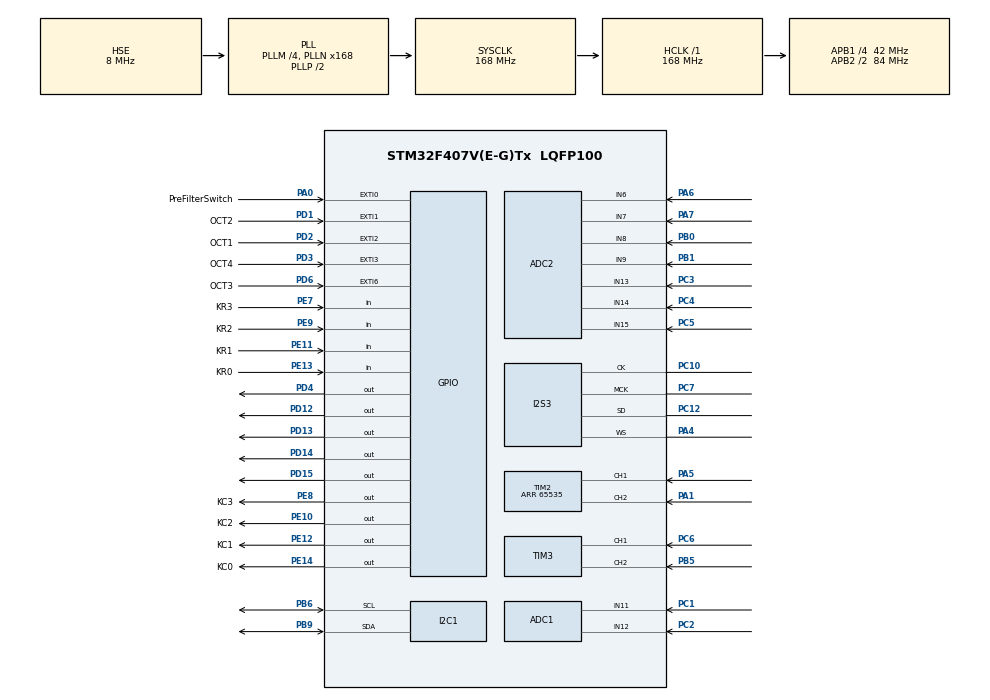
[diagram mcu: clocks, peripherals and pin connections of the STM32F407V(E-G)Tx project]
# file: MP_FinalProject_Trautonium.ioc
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ADC1.Channel-0\#ChannelRegularConversion=ADC_CHANNEL_12
ADC1.Channel-6\#ChannelRegularConversion=ADC_CHANNEL_11
ADC1.ClockPrescaler=ADC_CLOCK_SYNC_PCLK_DIV6
ADC1.ContinuousConvMode=ENABLE
ADC1.DMAContinuousRequests=ENABLE
ADC1.DataAlign=ADC_DATAALIGN_RIGHT
ADC1.InjNumberOfConversion=0
ADC1.NbrOfConversion=2
ADC1.NbrOfConversionFlag=1
ADC1.Rank-0\#ChannelRegularConversion=1
ADC1.Rank-6\#ChannelRegularConversion=2
ADC1.SamplingTime-0\#ChannelRegularConversion=ADC_SAMPLETIME_56CYCLES
ADC1.SamplingTime-6\#ChannelRegularConversion=ADC_SAMPLETIME_15CYCLES
ADC1.ScanConvMode=ENABLE
ADC1.master=1
ADC2.Channel-2\#ChannelRegularConversion=ADC_CHANNEL_6
ADC2.Channel-3\#ChannelRegularConversion=ADC_CHANNEL_7
ADC2.Channel-4\#ChannelRegularConversion=ADC_CHANNEL_8
ADC2.Channel-5\#ChannelRegularConversion=ADC_CHANNEL_9
ADC2.Channel-6\#ChannelRegularConversion=ADC_CHANNEL_15
ADC2.Channel-7\#ChannelRegularConversion=ADC_CHANNEL_13
ADC2.Channel-8\#ChannelRegularConversion=ADC_CHANNEL_14
ADC2.ClockPrescaler=ADC_CLOCK_SYNC_PCLK_DIV6
ADC2.ContinuousConvMode=ENABLE
ADC2.DMAContinuousRequests=ENABLE
ADC2.DiscontinuousConvMode=DISABLE
ADC2.NbrOfConversion=7
ADC2.NbrOfConversionFlag=1
ADC2.Rank-2\#ChannelRegularConversion=1
ADC2.Rank-3\#ChannelRegularConversion=2
ADC2.Rank-4\#ChannelRegularConversion=3
ADC2.Rank-5\#ChannelRegularConversion=4
ADC2.Rank-6\#ChannelRegularConversion=5
ADC2.Rank-7\#ChannelRegularConversion=6
ADC2.Rank-8\#ChannelRegularConversion=7
ADC2.SamplingTime-2\#ChannelRegularConversion=ADC_SAMPLETIME_15CYCLES
ADC2.SamplingTime-3\#ChannelRegularConversion=ADC_SAMPLETIME_15CYCLES
ADC2.SamplingTime-4\#ChannelRegularConversion=ADC_SAMPLETIME_15CYCLES
ADC2.SamplingTime-5\#ChannelRegularConversion=ADC_SAMPLETIME_15CYCLES
ADC2.SamplingTime-6\#ChannelRegularConversion=ADC_SAMPLETIME_15CYCLES
ADC2.SamplingTime-7\#ChannelRegularConversion=ADC_SAMPLETIME_15CYCLES
ADC2.SamplingTime-8\#ChannelRegularConversion=ADC_SAMPLETIME_15CYCLES
ADC2.ScanConvMode=ENABLE
Dma.ADC1.0.Direction=DMA_PERIPH_TO_MEMORY
Dma.ADC1.0.FIFOMode=DMA_FIFOMODE_DISABLE
Dma.ADC1.0.Instance=DMA2_Stream0
Dma.ADC1.0.MemDataAlignment=DMA_MDATAALIGN_HALFWORD
Dma.ADC1.0.MemInc=DMA_MINC_ENABLE
Dma.ADC1.0.Mode=DMA_CIRCULAR
Dma.ADC1.0.PeriphDataAlignment=DMA_PDATAALIGN_HALFWORD
Dma.ADC1.0.PeriphInc=DMA_PINC_DISABLE
Dma.ADC1.0.Priority=DMA_PRIORITY_LOW
Dma.ADC2.2.Direction=DMA_PERIPH_TO_MEMORY
Dma.ADC2.2.FIFOMode=DMA_FIFOMODE_DISABLE
Dma.ADC2.2.Instance=DMA2_Stream2
Dma.ADC2.2.MemDataAlignment=DMA_MDATAALIGN_HALFWORD
Dma.ADC2.2.MemInc=DMA_MINC_ENABLE
Dma.ADC2.2.Mode=DMA_CIRCULAR
Dma.ADC2.2.PeriphDataAlignment=DMA_PDATAALIGN_HALFWORD
Dma.ADC2.2.PeriphInc=DMA_PINC_DISABLE
Dma.ADC2.2.Priority=DMA_PRIORITY_LOW
Dma.Request0=ADC1
Dma.Request1=SPI3_TX
Dma.Request2=ADC2
Dma.SPI3_TX.1.Direction=DMA_MEMORY_TO_PERIPH
Dma.SPI3_TX.1.FIFOMode=DMA_FIFOMODE_DISABLE
Dma.SPI3_TX.1.Instance=DMA1_Stream5
Dma.SPI3_TX.1.MemDataAlignment=DMA_MDATAALIGN_HALFWORD
Dma.SPI3_TX.1.MemInc=DMA_MINC_ENABLE
Dma.SPI3_TX.1.Mode=DMA_CIRCULAR
Dma.SPI3_TX.1.PeriphDataAlignment=DMA_PDATAALIGN_HALFWORD
Dma.SPI3_TX.1.PeriphInc=DMA_PINC_DISABLE
Dma.SPI3_TX.1.Priority=DMA_PRIORITY_LOW
I2S3.AudioFreq=I2S_AUDIOFREQ_48K
I2S3.CPOL=I2S_CPOL_LOW
I2S3.ErrorAudioFreq=1.72 %
I2S3.FullDuplexMode=I2S_FULLDUPLEXMODE_DISABLE
I2S3.Instance=SPI$Index
I2S3.RealAudioFreq=48.828 KHz
I2S3.VirtualMode=I2S_MODE_MASTER
Mcu.Family=STM32F4
Mcu.Name=STM32F407V(E-G)Tx
Mcu.Package=LQFP100
NVIC.DMA1_Stream5_IRQn=true\:0\:0\:false\:false\:true\:false\:true\:true
NVIC.DMA2_Stream0_IRQn=true\:0\:0\:false\:false\:true\:false\:true\:true
NVIC.DMA2_Stream2_IRQn=true\:0\:0\:false\:false\:true\:false\:true\:true
NVIC.EXTI0_IRQn=true\:0\:0\:false\:false\:true\:true\:true\:true
NVIC.EXTI1_IRQn=true\:0\:0\:false\:false\:true\:true\:true\:true
NVIC.EXTI2_IRQn=true\:0\:0\:false\:false\:true\:true\:true\:true
NVIC.EXTI3_IRQn=true\:0\:0\:false\:false\:true\:true\:true\:true
NVIC.EXTI9_5_IRQn=true\:0\:0\:false\:false\:true\:true\:true\:true
NVIC.PriorityGroup=NVIC_PRIORITYGROUP_4
NVIC.TIM4_IRQn=true\:0\:0\:false\:false\:true\:true\:true\:true
PA0-WKUP.GPIO_Label=PreFilterSwitch
PA0-WKUP.Signal=GPXTI0
PA1.Signal=S_TIM2_CH2
PA4.Mode=Half_Duplex_Master
PA4.Signal=I2S3_WS
PA5.Signal=S_TIM2_CH1_ETR
PA6.Signal=ADCx_IN6
PA7.Signal=ADCx_IN7
PB0.Signal=ADCx_IN8
PB1.Signal=ADCx_IN9
PB5.Signal=S_TIM3_CH2
PB6.Mode=I2C
PB6.Signal=I2C1_SCL
PB9.Mode=I2C
PB9.Signal=I2C1_SDA
PC1.Signal=ADCx_IN11
PC10.Mode=Half_Duplex_Master
PC10.Signal=I2S3_CK
PC12.Mode=Half_Duplex_Master
PC12.Signal=I2S3_SD
PC2.Signal=ADCx_IN12
PC3.Signal=ADCx_IN13
PC4.Signal=ADCx_IN14
PC5.Signal=ADCx_IN15
PC6.Signal=S_TIM3_CH1
PC7.Mode=Master_Clock_Activated
PC7.Signal=I2S3_MCK
PD1.GPIO_Label=OCT2
PD1.GPIO_ModeDefaultEXTI=GPIO_MODE_IT_FALLING
PD1.GPIO_PuPd=GPIO_PULLUP
PD1.Signal=GPXTI1
PD12.Signal=GPIO_Output
PD13.Signal=GPIO_Output
PD14.Signal=GPIO_Output
PD15.Signal=GPIO_Output
PD2.GPIO_Label=OCT1
PD2.GPIO_ModeDefaultEXTI=GPIO_MODE_IT_FALLING
PD2.GPIO_PuPd=GPIO_PULLUP
PD2.Signal=GPXTI2
PD3.GPIO_Label=OCT4
PD3.GPIO_ModeDefaultEXTI=GPIO_MODE_IT_FALLING
PD3.GPIO_PuPd=GPIO_PULLUP
PD3.Signal=GPXTI3
PD4.Signal=GPIO_Output
PD6.GPIO_Label=OCT3
PD6.GPIO_ModeDefaultEXTI=GPIO_MODE_IT_FALLING
PD6.GPIO_PuPd=GPIO_PULLUP
PD6.Signal=GPXTI6
PE10.GPIO_Label=KC2
PE10.Signal=GPIO_Output
PE11.GPIO_Label=KR1
PE11.GPIO_PuPd=GPIO_PULLDOWN
PE11.Signal=GPIO_Input
PE12.GPIO_Label=KC1
PE12.Signal=GPIO_Output
PE13.GPIO_Label=KR0
PE13.GPIO_PuPd=GPIO_PULLDOWN
PE13.Signal=GPIO_Input
PE14.GPIO_Label=KC0
PE14.Signal=GPIO_Output
PE7.GPIO_Label=KR3
PE7.GPIO_PuPd=GPIO_PULLDOWN
PE7.Signal=GPIO_Input
PE8.GPIO_Label=KC3
PE8.Signal=GPIO_Output
PE9.GPIO_Label=KR2
PE9.GPIO_PuPd=GPIO_PULLDOWN
PE9.Signal=GPIO_Input
PH0-OSC_IN.Mode=HSE-External-Oscillator
PH0-OSC_IN.Signal=RCC_OSC_IN
PH1-OSC_OUT.Mode=HSE-External-Oscillator
PH1-OSC_OUT.Signal=RCC_OSC_OUT
ProjectManager.HeapSize=0x200
ProjectManager.StackSize=0x400
ProjectManager.TargetToolchain=STM32CubeIDE
RCC.48MHZClocksFreq_Value=84000000
RCC.AHBFreq_Value=168000000
RCC.APB1CLKDivider=RCC_HCLK_DIV4
RCC.APB1Freq_Value=42000000
RCC.APB1TimFreq_Value=84000000
RCC.APB2CLKDivider=RCC_HCLK_DIV2
RCC.APB2Freq_Value=84000000
RCC.APB2TimFreq_Value=168000000
RCC.CortexFreq_Value=168000000
RCC.HCLKFreq_Value=168000000
RCC.HSE_VALUE=8000000
RCC.HSI_VALUE=16000000
RCC.LSE_VALUE=32768
RCC.PLLI2SN=50
RCC.PLLM=4
RCC.PLLN=168
RCC.PLLSourceVirtual=RCC_PLLSOURCE_HSE
RCC.SYSCLKFreq_VALUE=168000000
RCC.SYSCLKSource=RCC_SYSCLKSOURCE_PLLCLK
RCC.VCOOutputFreq_Value=336000000
SH.ADCx_IN11.0=ADC1_IN11,IN11
SH.ADCx_IN11.1=ADC2_IN11
SH.ADCx_IN12.0=ADC1_IN12,IN12
SH.ADCx_IN12.1=ADC2_IN12
SH.ADCx_IN13.0=ADC2_IN13,IN13
SH.ADCx_IN14.0=ADC2_IN14,IN14
SH.ADCx_IN15.0=ADC2_IN15,IN15
SH.ADCx_IN6.0=ADC2_IN6,IN6
SH.ADCx_IN7.0=ADC2_IN7,IN7
SH.ADCx_IN8.0=ADC2_IN8,IN8
SH.ADCx_IN9.0=ADC2_IN9,IN9
SH.S_TIM2_CH1_ETR.0=TIM2_CH1,Encoder_Interface
SH.S_TIM2_CH2.0=TIM2_CH2,Encoder_Interface
SH.S_TIM3_CH1.0=TIM3_CH1,Encoder_Interface
SH.S_TIM3_CH2.0=TIM3_CH2,Encoder_Interface
TIM2.EncoderMode=TIM_ENCODERMODE_TI12
TIM2.Period=65535
TIM3.EncoderMode=TIM_ENCODERMODE_TI12
TIM4.Period=1000-1
TIM4.Prescaler=840-1
VP_TIM4_VS_ClockSourceINT.Mode=Internal
board=custom

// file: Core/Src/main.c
/* USER CODE BEGIN Header */
/**
  ******************************************************************************
  * @file           : main.c
  * @brief          : Main program body
  ******************************************************************************
  * @attention
  *
  * Copyright (c) 2025 STMicroelectronics.
  * All rights reserved.
  *
  * This software is licensed under terms that can be found in the LICENSE file
  * in the root directory of this software component.
  * If no LICENSE file comes with this software, it is provided AS-IS.
  *
  ******************************************************************************
  */
/* USER CODE END Header */
#include "main.h"

/* USER CODE BEGIN Includes */
#include "MY_CS43L22.h"
#include <math.h>
#include "Keypad4X4.h"
/* USER CODE END Includes */

ADC_HandleTypeDef hadc1;
ADC_HandleTypeDef hadc2;
DMA_HandleTypeDef hdma_adc1;
DMA_HandleTypeDef hdma_adc2;

I2C_HandleTypeDef hi2c1;

I2S_HandleTypeDef hi2s3;
DMA_HandleTypeDef hdma_spi3_tx;

TIM_HandleTypeDef htim2;
TIM_HandleTypeDef htim3;
TIM_HandleTypeDef htim4;

/* USER CODE BEGIN PV */
#define BUF_SIZE    52
#define PI M_PI
#define SAMPLE_RATE 48828.0f
#define CurrFreqADC ADC1val[0]
#define CurrAmpADC ADC1val[1]

#define F1VolADC ADC2val[0]
#define F1FreqADC ADC2val[1]
#define F1ResADC ADC2val[2]
#define F2VolADC ADC2val[3]
#define F2FreqADC ADC2val[4]
#define F2ResADC ADC2val[5]
#define MasterVolADC ADC2val[6]

#define SMOOTH_LEN 3

typedef struct {
	float a0;
	float a1;
	float a2;
	float b0;
	float b1;
	float b2;
}biquad_coeffs;

typedef struct {
	float y_prev;
	float y_prev_prev;
	float x_prev;
	float x_prev_prev;
}biquad_state;

typedef struct {
	float f_0;
	float Q;
	float vol;
	float FreqRange;
	uint8_t mode;
}filter_par;

int16_t i2sBuf[BUF_SIZE];
int16_t F1Buf[BUF_SIZE];
int16_t F2Buf[BUF_SIZE];
float currentFreq = 55.0f;
float currentAmp = 0.05f;
float MasterVol = 1.00f;
float OscillatorVol = 1.0f;
float cutoffFreq = 100.0f;
uint8_t preFilSwMode = 0;
uint8_t currentOct = 4;
uint8_t fixedScaleMode = 0;
uint8_t fixedScale = 0;
uint8_t EnbFMode = 0;
volatile uint16_t ADC1val[2];
volatile uint16_t ADC2val[7];

biquad_state SttF1 = {0.0f};
biquad_state SttF2 = {0.0f};

filter_par F1_par = {0.0f, 0.0f, 0.0f, 640.0f, 0};
filter_par F2_par = {0.0f, 0.0f, 0.0f, 640.0f, 0};

extern char key;
char old_key;

float targetFreq;
float portamentoSpeed = 0.01f;

uint32_t Enc1_counter = 0;
uint32_t Enc2_counter = 0;
/* USER CODE END PV */

void SystemClock_Config(void);
static void MX_GPIO_Init(void);
static void MX_DMA_Init(void);
static void MX_I2C1_Init(void);
static void MX_I2S3_Init(void);
static void MX_TIM2_Init(void);
static void MX_ADC1_Init(void);
static void MX_ADC2_Init(void);
static void MX_TIM3_Init(void);
static void MX_TIM4_Init(void);

/* USER CODE BEGIN 0 */

static float softClip(float x, float threshold, float gain) {
    const float clipStart = threshold * 0.95f; // Start soft clipping at 95% of range
    const float range = threshold - clipStart;

    if (x > clipStart) {
        float t = (x - clipStart) / range;
        return clipStart + range * tanhf(t * gain); // smooth compression
    } else if (x < -clipStart) {
        float t = (-x - clipStart) / range;
        return -clipStart - range * tanhf(t * gain); // symmetric
    } else {
        return x;
    }
}
float polyBLEP(float t, float phaseInc) {
	float dt = phaseInc / 2 * PI;
    if (t < dt) {
        t /= dt;
        return t + t - t * t - 1.0f;
    } else if (t > 1.0f - dt) {
        t = (t - 1.0f) / dt;
        return t * t + t + t + 1.0f;
    } else {
        return 0.0f;
    }
}
static float noiseGate(float sample, float threshold) {
    if (fabsf(sample) < threshold) {
        return 0.0f;
    }
    return sample;
}
static float movingAverage(float sample, float *smoothBuffer, uint8_t *smoothIndex) {
    smoothBuffer[*smoothIndex] = sample;
    *smoothIndex = (*smoothIndex + 1) % SMOOTH_LEN;

    float sum = 0.0f;
    for (int i = 0; i < SMOOTH_LEN; i++) {
        sum += smoothBuffer[i];
    }
    return sum / SMOOTH_LEN;
}
static void fillSawBlock(int16_t *buf, int len, float freq, float vol) {
    static float phase = 0.0f;
    static float smoothBuffer[SMOOTH_LEN] = {0};
    static uint8_t smoothIndex;
    float phaseInc = freq / SAMPLE_RATE;

    for (int i = 0; i < len; i = i + 2) {
        float t = phase;
        float value = 2.0f * t - 1.0f;
        value -= polyBLEP(t, phaseInc); // apply PolyBLEP correction
        if(vol > 1.0){
        	value = value * 32768.0f * (1.0f + (vol - 1.0f) * 8);
        }
        else{
        	value = value * 32768.0f * vol;
        }

		value = noiseGate(value, 1e-4f);
		value = movingAverage(value, smoothBuffer, &smoothIndex);

		// Apply soft clipping only if value exceeds int16 range
		value = softClip(value, 32768.0f, 0.2f);
		// Clamp just in case (safety net)
		if (value > 32767.0f) value = 32767.0f;
		if (value < -32768.0f) value = -32768.0f;

        buf[i] = (int16_t)value;
        buf[i+1] = (int16_t)value;
        phase += phaseInc;
        if (phase >= 1.0f) phase -= 1.0f;
    }
}
static void IIR_LowPassFilter(int16_t *buf, int len, float freq_cutoff){
	float dt = 1.0f / SAMPLE_RATE;
	float RC = 1 / (2 * PI * freq_cutoff);
	float a = dt / (RC + dt);
	static float y_prev = 0.0f;
	for (int i = 0; i < len; i = i + 2) {
		float x = (float)buf[i];
		y_prev = (a * x + (1 - a) * y_prev);
		if (y_prev < -32768.0f) y_prev = -32768.0f;
		if (y_prev > 32767.0f) y_prev = 32767.0f;
		buf[i] = (int16_t)y_prev;
		buf[i+1] = (int16_t)y_prev;
	    }
}

static void IIR_2ndOrderFilter(int16_t *in_buf, int16_t *out_buf, int len, filter_par *F_par, biquad_state *Stt){
	float omega_0 = 2* PI * (F_par->f_0/SAMPLE_RATE);
	float alpha = sinf(omega_0) / (2 * F_par -> Q);
	biquad_coeffs par;
	if(F_par ->mode == 0){
		//LPF mode selected
		par.b0 = (1.0f - cosf(omega_0)) / 2.0f;
		par.b1 = 1.0f - cosf(omega_0);
		par.b2 = par.b0;
		par.a0 = 1.0f + alpha;
		par.a1 = -2.0f * cosf(omega_0);
		par.a2 = 1.0f - alpha;

	}
	else if(F_par -> mode == 1){
		//BPF mode selected
		par.b0 = alpha;
		par.b1 = 0;
		par.b2 = -alpha;
		par.a0 = 1.0f + alpha;
		par.a1 = -2.0f * cosf(omega_0);
		par.a2 = 1.0f - alpha;

	}
	par.b0 /= par.a0;
	par.b1 /= par.a0;
    par.b2 /= par.a0;
	par.a1 /= par.a0;
	par.a2 /= par.a0;
    for(uint8_t i = 0; i < len; i = i + 2){
    	float y = 0.0f;
    	float x = (float)in_buf[i];
    	y = par.b0 * x + par.b1 * (Stt -> x_prev) + par.b2 * (Stt -> x_prev_prev) - par.a1 * (Stt -> y_prev) - par.a2 * (Stt -> y_prev_prev);
    	Stt -> x_prev_prev = Stt -> x_prev;
    	Stt -> x_prev = x;
    	Stt -> y_prev_prev = Stt -> y_prev;
    	Stt -> y_prev = y;
		if(F_par ->vol > 1.0){
			y = y * (1.0f + (F_par ->vol - 1.0f) * 8);
		}
		else{
			y = y * F_par ->vol;
		}
		// Apply soft clipping only if value exceeds int16 range
		y = softClip(y, 32768.0f, 0.2f);
		// Clamp just in case (safety net)
		if (y > 32767.0f) y = 32767.0f;
		if (y < -32768.0f) y = -32768.0f;
		if(F_par ->vol > 0.01f){
			out_buf[i] = (int16_t)y;
			out_buf[i+1] = (int16_t)y;
		}
		else{
			out_buf[i] = 0;
			out_buf[i+1] = 0;
		}

    }
}

void HAL_TIM_PeriodElapsedCallback(TIM_HandleTypeDef *htim)
{
	if (htim->Instance == TIM4) {
		HAL_TIM_Base_Stop_IT(&htim4); // Stop debounce timer

		// Now read stable switch state
		if (HAL_GPIO_ReadPin(GPIOA, PreFilterSwitch_Pin) == GPIO_PIN_SET) {
			// Button released or in high state
			preFilSwMode = (preFilSwMode + 1) % 3;
			switch(preFilSwMode){
				  case 1:
					  cutoffFreq = 100.0f;
					  HAL_GPIO_WritePin(GPIOD, GPIO_PIN_13, GPIO_PIN_SET);
					  HAL_GPIO_WritePin(GPIOD, GPIO_PIN_15, GPIO_PIN_RESET);
					  break;
				  case 2:
					  cutoffFreq = 500.0f;
					  HAL_GPIO_WritePin(GPIOD, GPIO_PIN_13, GPIO_PIN_RESET);
					  HAL_GPIO_WritePin(GPIOD, GPIO_PIN_15, GPIO_PIN_SET);
					  break;
				  default:
					  HAL_GPIO_WritePin(GPIOD, GPIO_PIN_13, GPIO_PIN_RESET);
					  HAL_GPIO_WritePin(GPIOD, GPIO_PIN_15, GPIO_PIN_RESET);
					  break;
			}
		}
	}
}

void HAL_GPIO_EXTI_Callback(uint16_t GPIO_PIN){
	if(GPIO_PIN == PreFilterSwitch_Pin){
		HAL_TIM_Base_Start_IT(&htim4);
	}

	//1x4 keypad
	if(GPIO_PIN == OCT1_Pin){
		currentOct = 1;
	}
	else if(GPIO_PIN == OCT2_Pin){
		currentOct = 2;
	}
	else if(GPIO_PIN == OCT3_Pin){
		currentOct = 3;
	}
	else if(GPIO_PIN == OCT4_Pin){
		currentOct = 4;
	}
}
void HAL_I2S_TxHalfCpltCallback(I2S_HandleTypeDef *hi2s) {
	Enc1_counter = __HAL_TIM_GET_COUNTER(&htim3);
	if (Enc1_counter > 60000)
	{
	  __HAL_TIM_SET_COUNTER(&htim3,0);
	  Enc1_counter=0;
	}
	if (Enc1_counter > 100)
	{
	  __HAL_TIM_SET_COUNTER(&htim3,100);
	  Enc1_counter=100;
	}
	portamentoSpeed = (100 - Enc1_counter)/10000.0f;
	if(portamentoSpeed > 0.01f){
		portamentoSpeed = 0.01f;
	}
	else if(portamentoSpeed < 0.0001f){
		portamentoSpeed = 0.0001f;
	}

	Enc2_counter = __HAL_TIM_GET_COUNTER(&htim2);
	if (Enc2_counter > 60000)
	{
	  __HAL_TIM_SET_COUNTER(&htim2,0);
	  Enc2_counter=0;
	}
	if (Enc2_counter > 200)
	{
	  __HAL_TIM_SET_COUNTER(&htim2,200);
	  Enc2_counter=200;
	}
	OscillatorVol = Enc2_counter / 160.0f;
    // Refill first half [0 .. BUF_SIZE/2)
	if(!fixedScaleMode){
		currentFreq = 110 * powf(4.0, (4095 - CurrFreqADC)/4095.0f) * powf(2, currentOct - 1);
	}
	else{
		fixedScale = (uint8_t)((4095 - CurrFreqADC)*24/4095.0f + 0.5);
		if(currentAmp < 0.01f){
			currentFreq = 110 * powf(4.0, fixedScale/24.0f) * powf(2, currentOct - 1);
		}
		else{
			targetFreq = 110 * powf(4.0, fixedScale/24.0f) * powf(2, currentOct - 1);
			currentFreq += (targetFreq - currentFreq) * portamentoSpeed;
		}
	}

	currentAmp = ((CurrAmpADC - 300)*1.0)/3400;
	if(currentAmp > 1.0f){
		currentAmp = 1.0f;
	}
	if(currentAmp < 0.01f){
		currentAmp = 0.0f;
		 for (int i = 0; i < BUF_SIZE/2; i = i + 2) {
			 i2sBuf[i] = 0;
			 i2sBuf[i+1] = 0;
		 }
	}
	else{
    fillSawBlock(i2sBuf + 0, BUF_SIZE/2, currentFreq, OscillatorVol);
    if(preFilSwMode != 0) IIR_LowPassFilter(i2sBuf + 0, BUF_SIZE/2, cutoffFreq);
    switch(EnbFMode){
    case 1:
    	F1_par.vol = ((uint8_t)((F1VolADC / 4095.0f) * 100))/80.0f;
		F1_par.f_0 = F1_par.FreqRange * ((uint8_t)((F1FreqADC / 4095.0f) * 100))/100.0f;
		F1_par.Q = 14.0f * ((uint8_t)((F1ResADC / 4095.0f) * 100))/100.0f + 1.0f;
    	IIR_2ndOrderFilter(i2sBuf, i2sBuf, BUF_SIZE/2, &F1_par, &SttF1);
    	break;
    case 2:
    	F2_par.vol = ((uint8_t)((F2VolADC / 4095.0f) * 100))/80.0f;
		F2_par.f_0 = F2_par.FreqRange * ((uint8_t)((F2FreqADC / 4095.0f) * 100))/100.0f;
		F2_par.Q = 14.0f * ((uint8_t)((F2ResADC / 4095.0f) * 100))/100.0f + 1.0f;
    	IIR_2ndOrderFilter(i2sBuf, i2sBuf, BUF_SIZE/2, &F2_par, &SttF2);
    	break;
    case 3:
    	F1_par.vol = ((uint8_t)((F1VolADC / 4095.0f) * 100))/80.0f;
		F1_par.f_0 = F1_par.FreqRange * ((uint8_t)((F1FreqADC / 4095.0f) * 100))/100.0f;
		F1_par.Q = 14.0f * ((uint8_t)((F1ResADC / 4095.0f) * 100))/100.0f + 1.0f;
		F2_par.vol = ((uint8_t)((F2VolADC / 4095.0f) * 100))/80.0f;
		F2_par.f_0 = F2_par.FreqRange * ((uint8_t)((F2FreqADC / 4095.0f) * 100))/100.0f;
		F2_par.Q = 14.0f * ((uint8_t)((F2ResADC / 4095.0f) * 100))/100.0f +1.0f;
    	IIR_2ndOrderFilter(i2sBuf, F1Buf, BUF_SIZE/2, &F1_par, &SttF1);
    	IIR_2ndOrderFilter(i2sBuf, F2Buf, BUF_SIZE/2, &F2_par, &SttF2);
    	for(int i = 0; i < BUF_SIZE/2; i = i + 2){
    		float mixed = (float)F1Buf[i] + (float)F2Buf[i];
    		if (mixed > 32767.0f) mixed = 32767.0f;
    		if (mixed < -32768.0f) mixed = -32768.0f;
    		i2sBuf[i] = (int16_t)mixed;
    		i2sBuf[i+1] = (int16_t)mixed;
    	}
    	break;
    default:
    	break;
    }
    MasterVol = ((uint8_t)((MasterVolADC/4095.0f) * 100))/100.0f;
	for(int i = 0; i < BUF_SIZE/2; i = i + 2){
		i2sBuf[i] = (int16_t)(i2sBuf[i] * MasterVol * currentAmp);
		i2sBuf[i+1] = i2sBuf[i] ;
	}
	}
}

void HAL_I2S_TxCpltCallback(I2S_HandleTypeDef *hi2s) {
	Enc1_counter = __HAL_TIM_GET_COUNTER(&htim3);
	if (Enc1_counter > 60000)
	{
	  __HAL_TIM_SET_COUNTER(&htim3,0);
	  Enc1_counter=0;
	}
	if (Enc1_counter > 100)
	{
	  __HAL_TIM_SET_COUNTER(&htim3,100);
	  Enc1_counter=100;
	}
	portamentoSpeed = (100 - Enc1_counter)/10000.0f;
	if(portamentoSpeed > 0.01f){
		portamentoSpeed = 0.01f;
	}
	else if(portamentoSpeed < 0.0001f){
		portamentoSpeed = 0.0001f;
	}

	Enc2_counter = __HAL_TIM_GET_COUNTER(&htim2);
	if (Enc2_counter > 60000)
	{
	  __HAL_TIM_SET_COUNTER(&htim2,0);
	  Enc2_counter=0;
	}
	if (Enc2_counter > 200)
	{
	  __HAL_TIM_SET_COUNTER(&htim2,200);
	  Enc2_counter=200;
	}
	OscillatorVol = Enc2_counter / 160.0f;
	// Refill second half [BUF_SIZE/2 .. BUF_SIZE)
	if(!fixedScaleMode){
		currentFreq = 110 * powf(4.0, (4095 - CurrFreqADC)/4095.0f) * powf(2, currentOct - 1);
	}
	else{
		fixedScale = (uint8_t)((4095 - CurrFreqADC)*24/4095.0f + 0.5);
		if(currentAmp < 0.01f){
			currentFreq = 110 * powf(4.0, fixedScale/24.0f) * powf(2, currentOct - 1);
		}
		else{
			targetFreq = 110 * powf(4.0, fixedScale/24.0f) * powf(2, currentOct - 1);
			currentFreq += (targetFreq - currentFreq) * portamentoSpeed;
		}
	}

	currentAmp = ((CurrAmpADC - 300)*1.0)/3400;
	if(currentAmp > 1.0f){
		currentAmp = 1.0f;
	}
	if(currentAmp < 0.01f){
		currentAmp = 0.0f;
		for (int i = BUF_SIZE/2; i < BUF_SIZE; i = i + 2) {
			 i2sBuf[i] = 0;
			 i2sBuf[i+1] = 0;
		}
	}
	else{
    fillSawBlock(i2sBuf + BUF_SIZE/2, BUF_SIZE/2, currentFreq, OscillatorVol);
    if(preFilSwMode != 0) IIR_LowPassFilter(i2sBuf + BUF_SIZE/2, BUF_SIZE/2, cutoffFreq);
    switch(EnbFMode){
        case 1:
        	F1_par.vol = ((uint8_t)((F1VolADC / 4095.0f) * 100))/80.0f;
			F1_par.f_0 = F1_par.FreqRange * ((uint8_t)((F1FreqADC / 4095.0f) * 100))/100.0f;
			F1_par.Q = 14.0f * ((uint8_t)((F1ResADC / 4095.0f) * 100))/100.0f + 1.0f;;
        	IIR_2ndOrderFilter(i2sBuf + BUF_SIZE/2, i2sBuf + BUF_SIZE/2, BUF_SIZE/2, &F1_par, &SttF1);
        	break;
        case 2:
        	F2_par.vol = ((uint8_t)((F2VolADC / 4095.0f) * 100))/80.0f;
			F2_par.f_0 = F2_par.FreqRange * ((uint8_t)((F2FreqADC / 4095.0f) * 100))/100.0f;
			F2_par.Q = 14.0f * ((uint8_t)((F2ResADC / 4095.0f) * 100))/100.0f + 1.0f;
        	IIR_2ndOrderFilter(i2sBuf + BUF_SIZE/2, i2sBuf + BUF_SIZE/2, BUF_SIZE/2, &F2_par, &SttF2);
        	break;
        case 3:
        	F1_par.vol = ((uint8_t)((F1VolADC / 4095.0f) * 100))/80.0f;
			F1_par.f_0 = F1_par.FreqRange * ((uint8_t)((F1FreqADC / 4095.0f) * 100))/100.0f;
			F1_par.Q = 14.0f * ((uint8_t)((F1ResADC / 4095.0f) * 100))/100.0f + 1.0f;
			F2_par.vol = ((uint8_t)((F2VolADC / 4095.0f) * 100))/80.0f;
			F2_par.f_0 = F2_par.FreqRange * ((uint8_t)((F2FreqADC / 4095.0f) * 100))/100.0f;
			F2_par.Q = 14.0f * ((uint8_t)((F2ResADC / 4095.0f) * 100))/100.0f + 1.0f;
        	IIR_2ndOrderFilter(i2sBuf + BUF_SIZE/2, F1Buf + BUF_SIZE/2, BUF_SIZE/2, &F1_par, &SttF1);
        	IIR_2ndOrderFilter(i2sBuf + BUF_SIZE/2, F2Buf + BUF_SIZE/2, BUF_SIZE/2, &F2_par, &SttF2);
        	for(int i = BUF_SIZE/2; i < BUF_SIZE; i = i + 2){
        		float mixed = (float)F1Buf[i] + (float)F2Buf[i];
        		if (mixed > 32767.0f) mixed = 32767.0f;
        		if (mixed < -32768.0f) mixed = -32768.0f;
        		i2sBuf[i] = (int16_t)mixed;
        		i2sBuf[i+1] = (int16_t)mixed;
        	}
        	break;
        default:
        	break;
        }
    MasterVol = ((uint8_t)((MasterVolADC/4095.0f) * 100))/100.0f;
	for(int i = BUF_SIZE/2; i < BUF_SIZE; i = i + 2){
		i2sBuf[i] = (int16_t)(i2sBuf[i] * MasterVol * currentAmp);
		i2sBuf[i+1] = i2sBuf[i] ;
	}
	}

}
/* USER CODE END 0 */

int main(void)
{

  /* MCU Configuration--------------------------------------------------------*/

  /* Reset of all peripherals, Initializes the Flash interface and the Systick. */
  HAL_Init();

  /* Configure the system clock */
  SystemClock_Config();

  /* Initialize all configured peripherals */
  MX_GPIO_Init();
  MX_DMA_Init();
  MX_I2C1_Init();
  MX_I2S3_Init();
  MX_TIM2_Init();
  MX_ADC1_Init();
  MX_ADC2_Init();
  MX_TIM3_Init();
  MX_TIM4_Init();
  /* USER CODE BEGIN 2 */
  CS43_Init(hi2c1, MODE_I2S);
  CS43_SetVolume(50);
  CS43_Enable_RightLeft(CS43_RIGHT_LEFT);
  fillSawBlock(i2sBuf, BUF_SIZE, currentFreq, currentAmp);
  HAL_I2S_Transmit_DMA(&hi2s3, i2sBuf, BUF_SIZE);
  HAL_ADC_Start_DMA(&hadc1, (uint32_t*)&ADC1val, 2);
  HAL_ADC_Start_DMA(&hadc2, (uint32_t*)&ADC2val, 7);
  HAL_TIM_Encoder_Start(&htim3, TIM_CHANNEL_ALL);
  HAL_TIM_Encoder_Start(&htim2, TIM_CHANNEL_ALL);
  __HAL_TIM_SET_COUNTER(&htim2,160);
  /* USER CODE END 2 */

  /* Infinite loop */
  /* USER CODE BEGIN WHILE */
  while (1)
  {
	  key = Get_Key();
	  if(key != old_key){
	  		switch(key){
	  		case '1':
	  			EnbFMode = 0;
	  			HAL_GPIO_WritePin(GPIOD, GPIO_PIN_12, RESET);
	  			HAL_GPIO_WritePin(GPIOD, GPIO_PIN_14, RESET);
	  			break;
	  		case '2':
	  			EnbFMode = 1;
	  			HAL_GPIO_WritePin(GPIOD, GPIO_PIN_12, SET);
	  			HAL_GPIO_WritePin(GPIOD, GPIO_PIN_14, RESET);
	  				break;
	  		case '3':
	  			EnbFMode = 2;
	  			HAL_GPIO_WritePin(GPIOD, GPIO_PIN_12, RESET);
	  			HAL_GPIO_WritePin(GPIOD, GPIO_PIN_14, SET);
	  				break;
	  		case 'A':
	  			EnbFMode = 3;
	  			HAL_GPIO_WritePin(GPIOD, GPIO_PIN_12, SET);
	  			HAL_GPIO_WritePin(GPIOD, GPIO_PIN_14, SET);
	  				break;
	  		case '4':
	  			F1_par.mode = 0;
	  				break;
	  		case '5':
	  			F1_par.mode = 1;
	  				break;
	  		case '6':
	  			F1_par.FreqRange = 640.0f;
	  				break;
	  		case 'B':
	  			F1_par.FreqRange = 6000.0f;
	  				break;
	  		case '7':
	  			F2_par.mode = 0;
	  				break;
	  		case '8':
	  			F2_par.mode = 1;
	  				break;
	  		case '9':
	  			F2_par.FreqRange = 640.0f;
	  				break;
	  		case 'C':
	  			F2_par.FreqRange = 6000.0f;
	  				break;
	  		case '*':
	  			fixedScaleMode = 0;
	  				break;
	  		case '0':
	  			fixedScaleMode = 1;
	  				break;
	  		case '#':
	  				break;
	  		case 'D':
	  				break;
	  		default:
	  			break;
	  		}
	  		old_key = key;
	  	}
    /* USER CODE END WHILE */

  }
}

void SystemClock_Config(void)
{
  RCC_OscInitTypeDef RCC_OscInitStruct = {0};
  RCC_ClkInitTypeDef RCC_ClkInitStruct = {0};

  /** Configure the main internal regulator output voltage
  */
  __HAL_RCC_PWR_CLK_ENABLE();
  __HAL_PWR_VOLTAGESCALING_CONFIG(PWR_REGULATOR_VOLTAGE_SCALE1);

  /** Initializes the RCC Oscillators according to the specified parameters
  * in the RCC_OscInitTypeDef structure.
  */
  RCC_OscInitStruct.OscillatorType = RCC_OSCILLATORTYPE_HSE;
  RCC_OscInitStruct.HSEState = RCC_HSE_ON;
  RCC_OscInitStruct.PLL.PLLState = RCC_PLL_ON;
  RCC_OscInitStruct.PLL.PLLSource = RCC_PLLSOURCE_HSE;
  RCC_OscInitStruct.PLL.PLLM = 4;
  RCC_OscInitStruct.PLL.PLLN = 168;
  RCC_OscInitStruct.PLL.PLLP = RCC_PLLP_DIV2;
  RCC_OscInitStruct.PLL.PLLQ = 4;
  if (HAL_RCC_OscConfig(&RCC_OscInitStruct) != HAL_OK)
  {
    Error_Handler();
  }

  /** Initializes the CPU, AHB and APB buses clocks
  */
  RCC_ClkInitStruct.ClockType = RCC_CLOCKTYPE_HCLK|RCC_CLOCKTYPE_SYSCLK
                              |RCC_CLOCKTYPE_PCLK1|RCC_CLOCKTYPE_PCLK2;
  RCC_ClkInitStruct.SYSCLKSource = RCC_SYSCLKSOURCE_PLLCLK;
  RCC_ClkInitStruct.AHBCLKDivider = RCC_SYSCLK_DIV1;
  RCC_ClkInitStruct.APB1CLKDivider = RCC_HCLK_DIV4;
  RCC_ClkInitStruct.APB2CLKDivider = RCC_HCLK_DIV2;

  if (HAL_RCC_ClockConfig(&RCC_ClkInitStruct, FLASH_LATENCY_5) != HAL_OK)
  {
    Error_Handler();
  }
}

static void MX_ADC1_Init(void)
{

  ADC_ChannelConfTypeDef sConfig = {0};

  /** Configure the global features of the ADC (Clock, Resolution, Data Alignment and number of conversion)
  */
  hadc1.Instance = ADC1;
  hadc1.Init.ClockPrescaler = ADC_CLOCK_SYNC_PCLK_DIV6;
  hadc1.Init.Resolution = ADC_RESOLUTION_12B;
  hadc1.Init.ScanConvMode = ENABLE;
  hadc1.Init.ContinuousConvMode = ENABLE;
  hadc1.Init.DiscontinuousConvMode = DISABLE;
  hadc1.Init.ExternalTrigConvEdge = ADC_EXTERNALTRIGCONVEDGE_NONE;
  hadc1.Init.ExternalTrigConv = ADC_SOFTWARE_START;
  hadc1.Init.DataAlign = ADC_DATAALIGN_RIGHT;
  hadc1.Init.NbrOfConversion = 2;
  hadc1.Init.DMAContinuousRequests = ENABLE;
  hadc1.Init.EOCSelection = ADC_EOC_SINGLE_CONV;
  if (HAL_ADC_Init(&hadc1) != HAL_OK)
  {
    Error_Handler();
  }

  /** Configure for the selected ADC regular channel its corresponding rank in the sequencer and its sample time.
  */
  sConfig.Channel = ADC_CHANNEL_12;
  sConfig.Rank = 1;
  sConfig.SamplingTime = ADC_SAMPLETIME_56CYCLES;
  if (HAL_ADC_ConfigChannel(&hadc1, &sConfig) != HAL_OK)
  {
    Error_Handler();
  }

  /** Configure for the selected ADC regular channel its corresponding rank in the sequencer and its sample time.
  */
  sConfig.Channel = ADC_CHANNEL_11;
  sConfig.Rank = 2;
  sConfig.SamplingTime = ADC_SAMPLETIME_15CYCLES;
  if (HAL_ADC_ConfigChannel(&hadc1, &sConfig) != HAL_OK)
  {
    Error_Handler();
  }

}

static void MX_ADC2_Init(void)
{

  ADC_ChannelConfTypeDef sConfig = {0};

  /** Configure the global features of the ADC (Clock, Resolution, Data Alignment and number of conversion)
  */
  hadc2.Instance = ADC2;
  hadc2.Init.ClockPrescaler = ADC_CLOCK_SYNC_PCLK_DIV6;
  hadc2.Init.Resolution = ADC_RESOLUTION_12B;
  hadc2.Init.ScanConvMode = ENABLE;
  hadc2.Init.ContinuousConvMode = ENABLE;
  hadc2.Init.DiscontinuousConvMode = DISABLE;
  hadc2.Init.ExternalTrigConvEdge = ADC_EXTERNALTRIGCONVEDGE_NONE;
  hadc2.Init.ExternalTrigConv = ADC_SOFTWARE_START;
  hadc2.Init.DataAlign = ADC_DATAALIGN_RIGHT;
  hadc2.Init.NbrOfConversion = 7;
  hadc2.Init.DMAContinuousRequests = ENABLE;
  hadc2.Init.EOCSelection = ADC_EOC_SINGLE_CONV;
  if (HAL_ADC_Init(&hadc2) != HAL_OK)
  {
    Error_Handler();
  }

  /** Configure for the selected ADC regular channel its corresponding rank in the sequencer and its sample time.
  */
  sConfig.Channel = ADC_CHANNEL_6;
  sConfig.Rank = 1;
  sConfig.SamplingTime = ADC_SAMPLETIME_15CYCLES;
  if (HAL_ADC_ConfigChannel(&hadc2, &sConfig) != HAL_OK)
  {
    Error_Handler();
  }

  /** Configure for the selected ADC regular channel its corresponding rank in the sequencer and its sample time.
  */
  sConfig.Channel = ADC_CHANNEL_7;
  sConfig.Rank = 2;
  if (HAL_ADC_ConfigChannel(&hadc2, &sConfig) != HAL_OK)
  {
    Error_Handler();
  }

  /** Configure for the selected ADC regular channel its corresponding rank in the sequencer and its sample time.
  */
  sConfig.Channel = ADC_CHANNEL_8;
  sConfig.Rank = 3;
  if (HAL_ADC_ConfigChannel(&hadc2, &sConfig) != HAL_OK)
  {
    Error_Handler();
  }

  /** Configure for the selected ADC regular channel its corresponding rank in the sequencer and its sample time.
  */
  sConfig.Channel = ADC_CHANNEL_9;
  sConfig.Rank = 4;
  if (HAL_ADC_ConfigChannel(&hadc2, &sConfig) != HAL_OK)
  {
    Error_Handler();
  }

  /** Configure for the selected ADC regular channel its corresponding rank in the sequencer and its sample time.
  */
  sConfig.Channel = ADC_CHANNEL_15;
  sConfig.Rank = 5;
  if (HAL_ADC_ConfigChannel(&hadc2, &sConfig) != HAL_OK)
  {
    Error_Handler();
  }

  /** Configure for the selected ADC regular channel its corresponding rank in the sequencer and its sample time.
  */
  sConfig.Channel = ADC_CHANNEL_13;
  sConfig.Rank = 6;
  if (HAL_ADC_ConfigChannel(&hadc2, &sConfig) != HAL_OK)
  {
    Error_Handler();
  }

  /** Configure for the selected ADC regular channel its corresponding rank in the sequencer and its sample time.
  */
  sConfig.Channel = ADC_CHANNEL_14;
  sConfig.Rank = 7;
  if (HAL_ADC_ConfigChannel(&hadc2, &sConfig) != HAL_OK)
  {
    Error_Handler();
  }

}

static void MX_I2C1_Init(void)
{

  hi2c1.Instance = I2C1;
  hi2c1.Init.ClockSpeed = 100000;
  hi2c1.Init.DutyCycle = I2C_DUTYCYCLE_2;
  hi2c1.Init.OwnAddress1 = 0;
  hi2c1.Init.AddressingMode = I2C_ADDRESSINGMODE_7BIT;
  hi2c1.Init.DualAddressMode = I2C_DUALADDRESS_DISABLE;
  hi2c1.Init.OwnAddress2 = 0;
  hi2c1.Init.GeneralCallMode = I2C_GENERALCALL_DISABLE;
  hi2c1.Init.NoStretchMode = I2C_NOSTRETCH_DISABLE;
  if (HAL_I2C_Init(&hi2c1) != HAL_OK)
  {
    Error_Handler();
  }

}

static void MX_I2S3_Init(void)
{

  hi2s3.Instance = SPI3;
  hi2s3.Init.Mode = I2S_MODE_MASTER_TX;
  hi2s3.Init.Standard = I2S_STANDARD_PHILIPS;
  hi2s3.Init.DataFormat = I2S_DATAFORMAT_16B;
  hi2s3.Init.MCLKOutput = I2S_MCLKOUTPUT_ENABLE;
  hi2s3.Init.AudioFreq = I2S_AUDIOFREQ_48K;
  hi2s3.Init.CPOL = I2S_CPOL_LOW;
  hi2s3.Init.ClockSource = I2S_CLOCK_PLL;
  hi2s3.Init.FullDuplexMode = I2S_FULLDUPLEXMODE_DISABLE;
  if (HAL_I2S_Init(&hi2s3) != HAL_OK)
  {
    Error_Handler();
  }

}

static void MX_TIM2_Init(void)
{

  TIM_Encoder_InitTypeDef sConfig = {0};
  TIM_MasterConfigTypeDef sMasterConfig = {0};

  htim2.Instance = TIM2;
  htim2.Init.Prescaler = 0;
  htim2.Init.CounterMode = TIM_COUNTERMODE_UP;
  htim2.Init.Period = 65535;
  htim2.Init.ClockDivision = TIM_CLOCKDIVISION_DIV1;
  htim2.Init.AutoReloadPreload = TIM_AUTORELOAD_PRELOAD_DISABLE;
  sConfig.EncoderMode = TIM_ENCODERMODE_TI12;
  sConfig.IC1Polarity = TIM_ICPOLARITY_RISING;
  sConfig.IC1Selection = TIM_ICSELECTION_DIRECTTI;
  sConfig.IC1Prescaler = TIM_ICPSC_DIV1;
  sConfig.IC1Filter = 0;
  sConfig.IC2Polarity = TIM_ICPOLARITY_RISING;
  sConfig.IC2Selection = TIM_ICSELECTION_DIRECTTI;
  sConfig.IC2Prescaler = TIM_ICPSC_DIV1;
  sConfig.IC2Filter = 0;
  if (HAL_TIM_Encoder_Init(&htim2, &sConfig) != HAL_OK)
  {
    Error_Handler();
  }
  sMasterConfig.MasterOutputTrigger = TIM_TRGO_RESET;
  sMasterConfig.MasterSlaveMode = TIM_MASTERSLAVEMODE_DISABLE;
  if (HAL_TIMEx_MasterConfigSynchronization(&htim2, &sMasterConfig) != HAL_OK)
  {
    Error_Handler();
  }

}

static void MX_TIM3_Init(void)
{

  TIM_Encoder_InitTypeDef sConfig = {0};
  TIM_MasterConfigTypeDef sMasterConfig = {0};

  htim3.Instance = TIM3;
  htim3.Init.Prescaler = 0;
  htim3.Init.CounterMode = TIM_COUNTERMODE_UP;
  htim3.Init.Period = 65535;
  htim3.Init.ClockDivision = TIM_CLOCKDIVISION_DIV1;
  htim3.Init.AutoReloadPreload = TIM_AUTORELOAD_PRELOAD_DISABLE;
  sConfig.EncoderMode = TIM_ENCODERMODE_TI12;
  sConfig.IC1Polarity = TIM_ICPOLARITY_RISING;
  sConfig.IC1Selection = TIM_ICSELECTION_DIRECTTI;
  sConfig.IC1Prescaler = TIM_ICPSC_DIV1;
  sConfig.IC1Filter = 0;
  sConfig.IC2Polarity = TIM_ICPOLARITY_RISING;
  sConfig.IC2Selection = TIM_ICSELECTION_DIRECTTI;
  sConfig.IC2Prescaler = TIM_ICPSC_DIV1;
  sConfig.IC2Filter = 0;
  if (HAL_TIM_Encoder_Init(&htim3, &sConfig) != HAL_OK)
  {
    Error_Handler();
  }
  sMasterConfig.MasterOutputTrigger = TIM_TRGO_RESET;
  sMasterConfig.MasterSlaveMode = TIM_MASTERSLAVEMODE_DISABLE;
  if (HAL_TIMEx_MasterConfigSynchronization(&htim3, &sMasterConfig) != HAL_OK)
  {
    Error_Handler();
  }

}

static void MX_TIM4_Init(void)
{

  TIM_ClockConfigTypeDef sClockSourceConfig = {0};
  TIM_MasterConfigTypeDef sMasterConfig = {0};

  htim4.Instance = TIM4;
  htim4.Init.Prescaler = 840-1;
  htim4.Init.CounterMode = TIM_COUNTERMODE_UP;
  htim4.Init.Period = 1000-1;
  htim4.Init.ClockDivision = TIM_CLOCKDIVISION_DIV1;
  htim4.Init.AutoReloadPreload = TIM_AUTORELOAD_PRELOAD_DISABLE;
  if (HAL_TIM_Base_Init(&htim4) != HAL_OK)
  {
    Error_Handler();
  }
  sClockSourceConfig.ClockSource = TIM_CLOCKSOURCE_INTERNAL;
  if (HAL_TIM_ConfigClockSource(&htim4, &sClockSourceConfig) != HAL_OK)
  {
    Error_Handler();
  }
  sMasterConfig.MasterOutputTrigger = TIM_TRGO_RESET;
  sMasterConfig.MasterSlaveMode = TIM_MASTERSLAVEMODE_DISABLE;
  if (HAL_TIMEx_MasterConfigSynchronization(&htim4, &sMasterConfig) != HAL_OK)
  {
    Error_Handler();
  }

}

static void MX_DMA_Init(void)
{

  /* DMA controller clock enable */
  __HAL_RCC_DMA2_CLK_ENABLE();
  __HAL_RCC_DMA1_CLK_ENABLE();

  /* DMA interrupt init */
  /* DMA1_Stream5_IRQn interrupt configuration */
  HAL_NVIC_SetPriority(DMA1_Stream5_IRQn, 0, 0);
  HAL_NVIC_EnableIRQ(DMA1_Stream5_IRQn);
  /* DMA2_Stream0_IRQn interrupt configuration */
  HAL_NVIC_SetPriority(DMA2_Stream0_IRQn, 0, 0);
  HAL_NVIC_EnableIRQ(DMA2_Stream0_IRQn);
  /* DMA2_Stream2_IRQn interrupt configuration */
  HAL_NVIC_SetPriority(DMA2_Stream2_IRQn, 0, 0);
  HAL_NVIC_EnableIRQ(DMA2_Stream2_IRQn);

}

static void MX_GPIO_Init(void)
{
  GPIO_InitTypeDef GPIO_InitStruct = {0};

  /* GPIO Ports Clock Enable */
  __HAL_RCC_GPIOH_CLK_ENABLE();
  __HAL_RCC_GPIOC_CLK_ENABLE();
  __HAL_RCC_GPIOA_CLK_ENABLE();
  __HAL_RCC_GPIOB_CLK_ENABLE();
  __HAL_RCC_GPIOE_CLK_ENABLE();
  __HAL_RCC_GPIOD_CLK_ENABLE();

  /*Configure GPIO pin Output Level */
  HAL_GPIO_WritePin(GPIOE, KC3_Pin|KC2_Pin|KC1_Pin|KC0_Pin, GPIO_PIN_RESET);

  /*Configure GPIO pin Output Level */
  HAL_GPIO_WritePin(GPIOD, GPIO_PIN_12|GPIO_PIN_13|GPIO_PIN_14|GPIO_PIN_15
                          |GPIO_PIN_4, GPIO_PIN_RESET);

  /*Configure GPIO pin : PreFilterSwitch_Pin */
  GPIO_InitStruct.Pin = PreFilterSwitch_Pin;
  GPIO_InitStruct.Mode = GPIO_MODE_IT_RISING;
  GPIO_InitStruct.Pull = GPIO_NOPULL;
  HAL_GPIO_Init(PreFilterSwitch_GPIO_Port, &GPIO_InitStruct);

  /*Configure GPIO pins : KR3_Pin KR2_Pin KR1_Pin KR0_Pin */
  GPIO_InitStruct.Pin = KR3_Pin|KR2_Pin|KR1_Pin|KR0_Pin;
  GPIO_InitStruct.Mode = GPIO_MODE_INPUT;
  GPIO_InitStruct.Pull = GPIO_PULLDOWN;
  HAL_GPIO_Init(GPIOE, &GPIO_InitStruct);

  /*Configure GPIO pins : KC3_Pin KC2_Pin KC1_Pin KC0_Pin */
  GPIO_InitStruct.Pin = KC3_Pin|KC2_Pin|KC1_Pin|KC0_Pin;
  GPIO_InitStruct.Mode = GPIO_MODE_OUTPUT_PP;
  GPIO_InitStruct.Pull = GPIO_NOPULL;
  GPIO_InitStruct.Speed = GPIO_SPEED_FREQ_LOW;
  HAL_GPIO_Init(GPIOE, &GPIO_InitStruct);

  /*Configure GPIO pins : PD12 PD13 PD14 PD15
                           PD4 */
  GPIO_InitStruct.Pin = GPIO_PIN_12|GPIO_PIN_13|GPIO_PIN_14|GPIO_PIN_15
                          |GPIO_PIN_4;
  GPIO_InitStruct.Mode = GPIO_MODE_OUTPUT_PP;
  GPIO_InitStruct.Pull = GPIO_NOPULL;
  GPIO_InitStruct.Speed = GPIO_SPEED_FREQ_LOW;
  HAL_GPIO_Init(GPIOD, &GPIO_InitStruct);

  /*Configure GPIO pins : OCT2_Pin OCT1_Pin OCT4_Pin OCT3_Pin */
  GPIO_InitStruct.Pin = OCT2_Pin|OCT1_Pin|OCT4_Pin|OCT3_Pin;
  GPIO_InitStruct.Mode = GPIO_MODE_IT_FALLING;
  GPIO_InitStruct.Pull = GPIO_PULLUP;
  HAL_GPIO_Init(GPIOD, &GPIO_InitStruct);

  /* EXTI interrupt init*/
  HAL_NVIC_SetPriority(EXTI0_IRQn, 0, 0);
  HAL_NVIC_EnableIRQ(EXTI0_IRQn);

  HAL_NVIC_SetPriority(EXTI1_IRQn, 0, 0);
  HAL_NVIC_EnableIRQ(EXTI1_IRQn);

  HAL_NVIC_SetPriority(EXTI2_IRQn, 0, 0);
  HAL_NVIC_EnableIRQ(EXTI2_IRQn);

  HAL_NVIC_SetPriority(EXTI3_IRQn, 0, 0);
  HAL_NVIC_EnableIRQ(EXTI3_IRQn);

  HAL_NVIC_SetPriority(EXTI9_5_IRQn, 0, 0);
  HAL_NVIC_EnableIRQ(EXTI9_5_IRQn);

}

void Error_Handler(void)
{
  __disable_irq();
  while (1)
  {
  }
}
